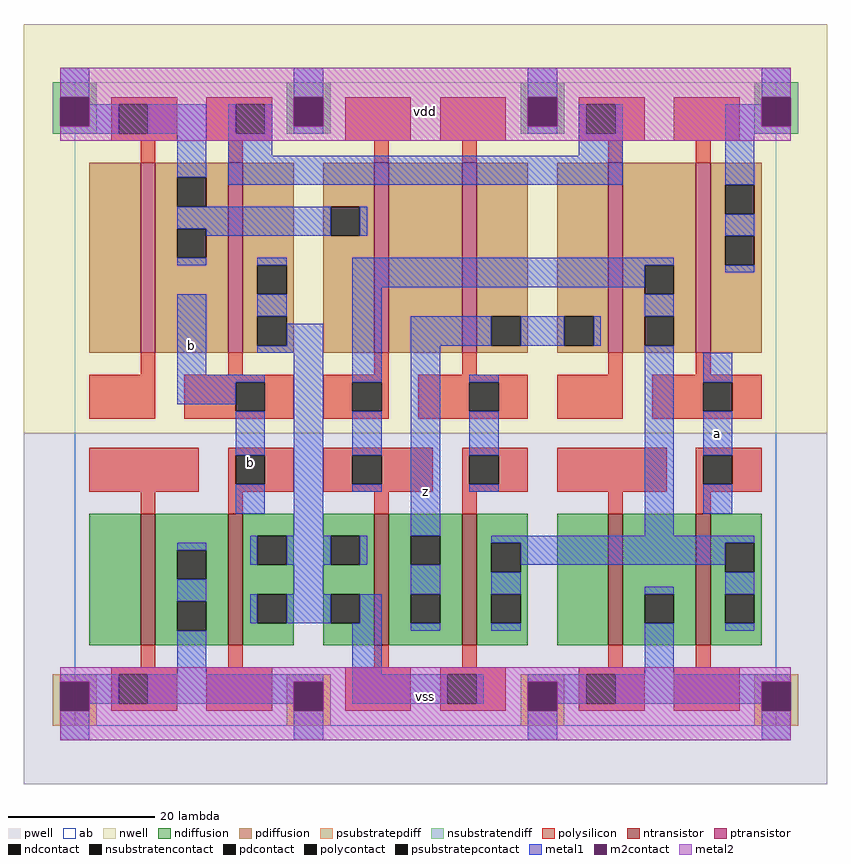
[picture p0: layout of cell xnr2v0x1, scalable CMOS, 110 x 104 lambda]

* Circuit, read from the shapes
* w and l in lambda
.subckt xnr2v0x1 a b vdd vss z
M1 vss vss n1 vss nfet w=18 l=2
M2 n2 b vss vss nfet w=18 l=2
M3 z n3 n2 vss nfet w=18 l=2
M4 n3 n2 z vss nfet w=18 l=2
M5 vss vss n4 vss nfet w=18 l=2
M6 n3 a vss vss nfet w=18 l=2
M7 vdd vdd n5 vdd pfet w=26 l=2
M8 n2 b vdd vdd pfet w=26 l=2
M9 n6 n3 vdd vdd pfet w=26 l=2
M10 z n2 n6 vdd pfet w=26 l=2
M11 n3 b z vdd pfet w=26 l=2
M12 vdd a n3 vdd pfet w=26 l=2
.ends

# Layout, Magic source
magic
tech scmos
<< ab >>
rect 0 0 96 88
<< pwell >>
rect -7 -8 103 40
<< nwell >>
rect -7 40 103 96
<< polysilicon >>
rect 5 85 14 86
rect 5 81 6 85
rect 10 81 14 85
rect 5 80 14 81
rect 18 85 27 86
rect 18 81 22 85
rect 26 81 27 85
rect 18 80 27 81
rect 37 80 46 86
rect 50 80 59 86
rect 69 85 78 86
rect 69 81 70 85
rect 74 81 78 85
rect 69 80 78 81
rect 82 80 91 86
rect 9 77 11 80
rect 21 77 23 80
rect 41 77 43 80
rect 53 77 55 80
rect 73 77 75 80
rect 85 77 87 80
rect 9 48 11 51
rect 21 48 23 51
rect 41 48 43 51
rect 53 48 55 51
rect 73 48 75 51
rect 85 48 87 51
rect 2 42 11 48
rect 15 47 30 48
rect 15 43 22 47
rect 26 43 30 47
rect 15 42 30 43
rect 34 47 43 48
rect 34 43 38 47
rect 42 43 43 47
rect 34 42 43 43
rect 47 47 62 48
rect 47 43 54 47
rect 58 43 62 47
rect 47 42 62 43
rect 66 42 75 48
rect 79 47 94 48
rect 79 43 86 47
rect 90 43 94 47
rect 79 42 94 43
rect 2 32 17 38
rect 21 37 30 38
rect 21 33 22 37
rect 26 33 30 37
rect 21 32 30 33
rect 34 37 49 38
rect 34 33 38 37
rect 42 33 49 37
rect 34 32 49 33
rect 53 37 62 38
rect 53 33 54 37
rect 58 33 62 37
rect 53 32 62 33
rect 66 32 81 38
rect 85 37 94 38
rect 85 33 86 37
rect 90 33 94 37
rect 85 32 94 33
rect 9 29 11 32
rect 21 29 23 32
rect 41 29 43 32
rect 53 29 55 32
rect 73 29 75 32
rect 85 29 87 32
rect 9 8 11 11
rect 21 8 23 11
rect 41 8 43 11
rect 53 8 55 11
rect 73 8 75 11
rect 85 8 87 11
rect 5 7 14 8
rect 5 3 6 7
rect 10 3 14 7
rect 5 2 14 3
rect 18 2 27 8
rect 37 2 46 8
rect 50 7 59 8
rect 69 7 78 8
rect 50 3 51 7
rect 55 3 59 7
rect 50 2 59 3
rect 69 3 70 7
rect 74 3 78 7
rect 69 2 78 3
rect 82 2 91 8
<< ndiffusion >>
rect 2 11 9 29
rect 11 24 21 29
rect 11 20 14 24
rect 18 20 21 24
rect 11 17 21 20
rect 11 13 14 17
rect 18 13 21 17
rect 11 11 21 13
rect 23 26 30 29
rect 23 22 25 26
rect 29 22 30 26
rect 23 18 30 22
rect 23 14 25 18
rect 29 14 30 18
rect 23 11 30 14
rect 34 26 41 29
rect 34 22 35 26
rect 39 22 41 26
rect 34 18 41 22
rect 34 14 35 18
rect 39 14 41 18
rect 34 11 41 14
rect 43 26 53 29
rect 43 22 46 26
rect 50 22 53 26
rect 43 18 53 22
rect 43 14 46 18
rect 50 14 53 18
rect 43 11 53 14
rect 55 25 62 29
rect 55 21 57 25
rect 61 21 62 25
rect 55 18 62 21
rect 55 14 57 18
rect 61 14 62 18
rect 55 11 62 14
rect 66 11 73 29
rect 75 18 85 29
rect 75 14 78 18
rect 82 14 85 18
rect 75 11 85 14
rect 87 25 94 29
rect 87 21 89 25
rect 93 21 94 25
rect 87 18 94 21
rect 87 14 89 18
rect 93 14 94 18
rect 87 11 94 14
<< pdiffusion >>
rect 2 51 9 77
rect 11 75 21 77
rect 11 71 14 75
rect 18 71 21 75
rect 11 68 21 71
rect 11 64 14 68
rect 18 64 21 68
rect 11 51 21 64
rect 23 63 30 77
rect 23 59 25 63
rect 29 59 30 63
rect 23 56 30 59
rect 23 52 25 56
rect 29 52 30 56
rect 23 51 30 52
rect 34 71 41 77
rect 34 67 35 71
rect 39 67 41 71
rect 34 51 41 67
rect 43 51 53 77
rect 55 56 62 77
rect 55 52 57 56
rect 61 52 62 56
rect 55 51 62 52
rect 66 56 73 77
rect 66 52 67 56
rect 71 52 73 56
rect 66 51 73 52
rect 75 63 85 77
rect 75 59 78 63
rect 82 59 85 63
rect 75 56 85 59
rect 75 52 78 56
rect 82 52 85 56
rect 75 51 85 52
rect 87 74 94 77
rect 87 70 89 74
rect 93 70 94 74
rect 87 67 94 70
rect 87 63 89 67
rect 93 63 94 67
rect 87 51 94 63
<< metal1 >>
rect -2 86 2 90
rect 30 86 34 90
rect 2 82 6 85
rect -2 81 6 82
rect 10 81 18 85
rect 14 75 18 81
rect 21 81 22 85
rect 26 81 27 85
rect 30 81 34 82
rect 62 86 66 90
rect 94 86 98 90
rect 62 81 66 82
rect 69 81 70 85
rect 74 81 75 85
rect 21 78 27 81
rect 69 78 75 81
rect 21 74 75 78
rect 89 82 94 85
rect 89 81 98 82
rect 89 74 93 81
rect 14 68 35 71
rect 18 67 35 68
rect 39 67 40 71
rect 89 67 93 70
rect 14 63 18 64
rect 25 63 29 64
rect 14 48 18 59
rect 25 56 29 59
rect 38 63 82 64
rect 38 60 78 63
rect 29 52 34 55
rect 25 51 34 52
rect 14 47 26 48
rect 14 44 22 47
rect 22 37 26 43
rect 22 29 26 33
rect 30 26 34 51
rect 38 47 42 60
rect 89 62 93 63
rect 78 56 82 59
rect 38 37 42 43
rect 38 32 42 33
rect 46 52 57 56
rect 61 52 67 56
rect 71 52 72 56
rect 46 26 50 52
rect 54 47 58 48
rect 54 37 58 43
rect 54 32 58 33
rect 78 26 82 52
rect 86 47 90 51
rect 86 37 90 43
rect 86 29 90 33
rect 14 24 18 25
rect 24 22 25 26
rect 29 22 35 26
rect 39 22 40 26
rect 14 17 18 20
rect 30 18 34 22
rect 46 18 50 22
rect 24 14 25 18
rect 29 14 35 18
rect 39 14 42 18
rect 14 7 18 13
rect 38 7 42 14
rect 46 13 50 14
rect 57 25 93 26
rect 61 22 89 25
rect 57 18 61 21
rect 57 13 61 14
rect 78 18 82 19
rect 78 7 82 14
rect 89 18 93 21
rect 89 13 93 14
rect -2 6 6 7
rect 2 3 6 6
rect 10 6 34 7
rect 10 3 30 6
rect -2 -2 2 2
rect 38 3 51 7
rect 55 3 56 7
rect 62 6 70 7
rect 30 -2 34 2
rect 66 3 70 6
rect 74 6 98 7
rect 74 3 94 6
rect 62 -2 66 2
rect 94 -2 98 2
<< metal2 >>
rect -2 86 98 90
rect 2 82 30 86
rect 34 82 62 86
rect 66 82 94 86
rect -2 80 98 82
rect -2 6 98 8
rect 2 2 30 6
rect 34 2 62 6
rect 66 2 94 6
rect -2 -2 98 2
<< ntransistor >>
rect 9 11 11 29
rect 21 11 23 29
rect 41 11 43 29
rect 53 11 55 29
rect 73 11 75 29
rect 85 11 87 29
<< ptransistor >>
rect 9 51 11 77
rect 21 51 23 77
rect 41 51 43 77
rect 53 51 55 77
rect 73 51 75 77
rect 85 51 87 77
<< polycontact >>
rect 6 81 10 85
rect 22 81 26 85
rect 70 81 74 85
rect 22 43 26 47
rect 38 43 42 47
rect 54 43 58 47
rect 86 43 90 47
rect 22 33 26 37
rect 38 33 42 37
rect 54 33 58 37
rect 86 33 90 37
rect 6 3 10 7
rect 51 3 55 7
rect 70 3 74 7
<< ndcontact >>
rect 14 20 18 24
rect 14 13 18 17
rect 25 22 29 26
rect 25 14 29 18
rect 35 22 39 26
rect 35 14 39 18
rect 46 22 50 26
rect 46 14 50 18
rect 57 21 61 25
rect 57 14 61 18
rect 78 14 82 18
rect 89 21 93 25
rect 89 14 93 18
<< pdcontact >>
rect 14 71 18 75
rect 14 64 18 68
rect 25 59 29 63
rect 25 52 29 56
rect 35 67 39 71
rect 57 52 61 56
rect 67 52 71 56
rect 78 59 82 63
rect 78 52 82 56
rect 89 70 93 74
rect 89 63 93 67
<< m2contact >>
rect -2 82 2 86
rect 30 82 34 86
rect 62 82 66 86
rect 94 82 98 86
rect -2 2 2 6
rect 30 2 34 6
rect 62 2 66 6
rect 94 2 98 6
<< psubstratepcontact >>
rect -2 2 2 6
rect 30 2 34 6
rect 62 2 66 6
rect 94 2 98 6
<< nsubstratencontact >>
rect -2 82 2 86
rect 30 82 34 86
rect 62 82 66 86
rect 94 82 98 86
<< psubstratepdiff >>
rect -3 6 3 7
rect -3 2 -2 6
rect 2 2 3 6
rect 29 6 35 7
rect 29 2 30 6
rect 34 2 35 6
rect 61 6 67 7
rect 61 2 62 6
rect 66 2 67 6
rect 93 6 99 7
rect 93 2 94 6
rect 98 2 99 6
rect -3 0 3 2
rect 29 0 35 2
rect 61 0 67 2
rect 93 0 99 2
<< nsubstratendiff >>
rect -3 86 3 88
rect 29 86 35 88
rect 61 86 67 88
rect 93 86 99 88
rect -3 82 -2 86
rect 2 82 3 86
rect -3 81 3 82
rect 29 82 30 86
rect 34 82 35 86
rect 29 81 35 82
rect 61 82 62 86
rect 66 82 67 86
rect 61 81 67 82
rect 93 82 94 86
rect 98 82 99 86
rect 93 81 99 82
<< labels >>
rlabel polycontact 24 36 24 36 6 b
rlabel metal1 16 52 16 52 6 b
rlabel metal1 48 32 48 32 6 z
rlabel metal1 88 40 88 40 6 a
rlabel metal2 48 4 48 4 6 vss
rlabel metal2 48 84 48 84 6 vdd
<< end >>
